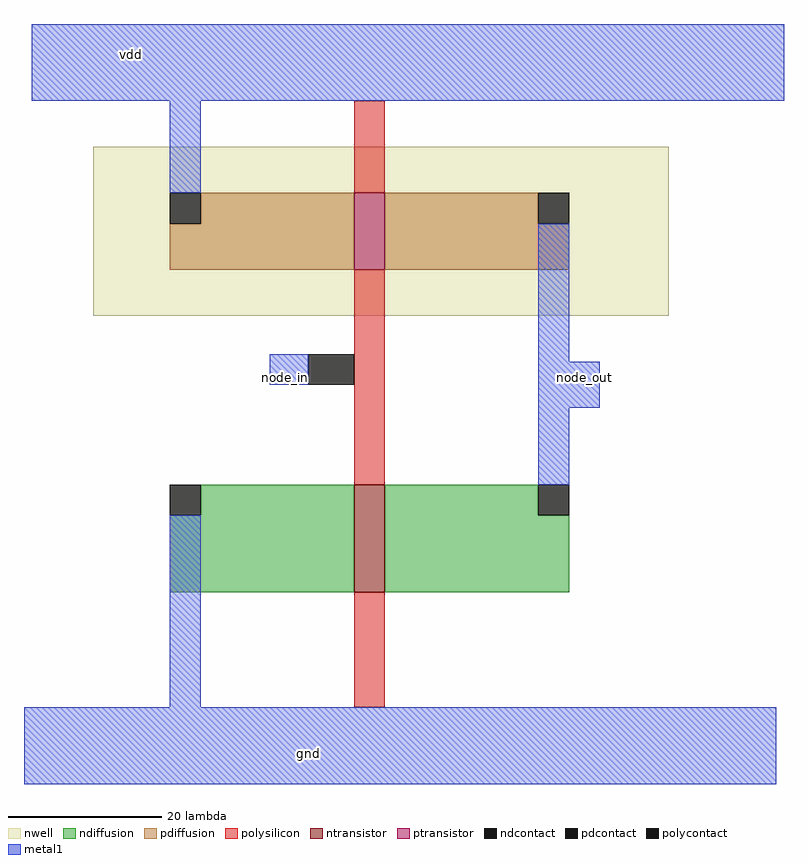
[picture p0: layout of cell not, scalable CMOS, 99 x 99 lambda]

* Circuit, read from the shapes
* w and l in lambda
.subckt not gnd node_in node_out vdd
M1 node_out node_in gnd VSUBS nfet w=14 l=4
M2 node_out node_in vdd n1 pfet w=10 l=4
.ends

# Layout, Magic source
magic
tech scmos
<< nwell >>
rect -70 21 5 43
<< ntransistor >>
rect -36 -15 -32 -1
<< ptransistor >>
rect -36 27 -32 37
<< ndiffusion >>
rect -56 -5 -36 -1
rect -60 -15 -36 -5
rect -32 -5 -12 -1
rect -32 -15 -8 -5
<< pdiffusion >>
rect -56 33 -36 37
rect -60 27 -36 33
rect -32 33 -12 37
rect -32 27 -8 33
<< ndcontact >>
rect -60 -5 -56 -1
rect -12 -5 -8 -1
<< pdcontact >>
rect -60 33 -56 37
rect -12 33 -8 37
<< polysilicon >>
rect -36 37 -32 49
rect -36 -1 -32 27
rect -36 -30 -32 -15
<< polycontact >>
rect -42 12 -36 16
<< metal1 >>
rect -78 49 20 59
rect -60 37 -56 49
rect -47 12 -42 16
rect -12 15 -8 33
rect -12 9 -4 15
rect -12 -1 -8 9
rect -60 -30 -56 -5
rect -79 -40 19 -30
<< labels >>
rlabel metal1 -65 55 -65 55 5 vdd
rlabel metal1 -6 13 -6 13 1 node_out
rlabel metal1 -42 -36 -42 -36 1 gnd
rlabel metal1 -45 13 -45 13 1 node_in
<< end >>
